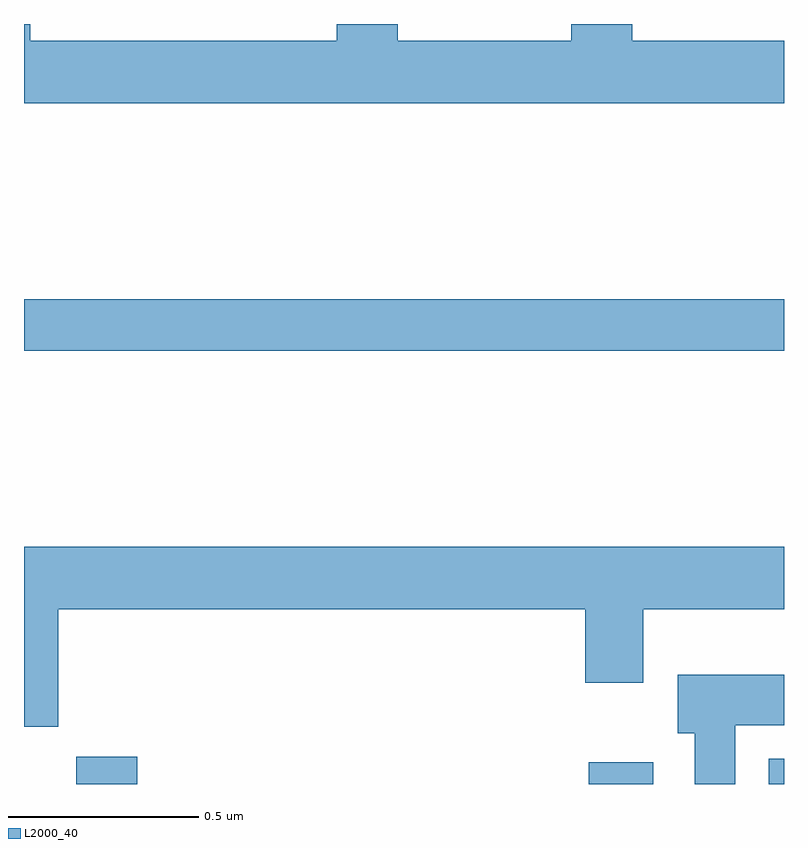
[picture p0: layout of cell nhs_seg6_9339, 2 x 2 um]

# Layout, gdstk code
import gdstk
lib = gdstk.Library(unit=1e-6, precision=1e-09)
def R(c, l, rs):  # rectangles x0, y0, x1, y1
    for r in rs: c.add(gdstk.rectangle(r[:2], r[2:], *l))
def P(c, l, *ps):  # polygons
    for p in ps: c.add(gdstk.Polygon(p, *l))
L2000_40 = (2000, 40)

nhs_seg6_9339 = lib.new_cell('nhs_seg6_9339')
R(nhs_seg6_9339, L2000_40, [(232.138,989.5,232.298,989.572), (233.486,989.5,233.656,989.557), (233.96,989.5,234,989.566), (232,990.64,234,990.776)])
P(nhs_seg6_9339, L2000_40, [(234,991.456),(233.6,991.456),(233.6,991.5),(233.44,991.5),(233.44,991.456),(232.983,991.456),(232.983,991.5),(232.823,991.5),(232.823,991.456),(232.016,991.456),(232.016,991.5),(232,991.5),(232,991.292),(234,991.292)],
  [(232.09,989.96),(233.477,989.96),(233.477,989.766),(233.629,989.766),(233.629,989.96),(234,989.96),(234,990.124),(232,990.124),(232,989.651),(232.09,989.651)],
  [(233.872,989.654),(234,989.654),(234,989.788),(233.72,989.788),(233.72,989.634),(233.765,989.634),(233.765,989.5),(233.872,989.5)])

lib.write_gds('nhs_seg6_9339.gds')
